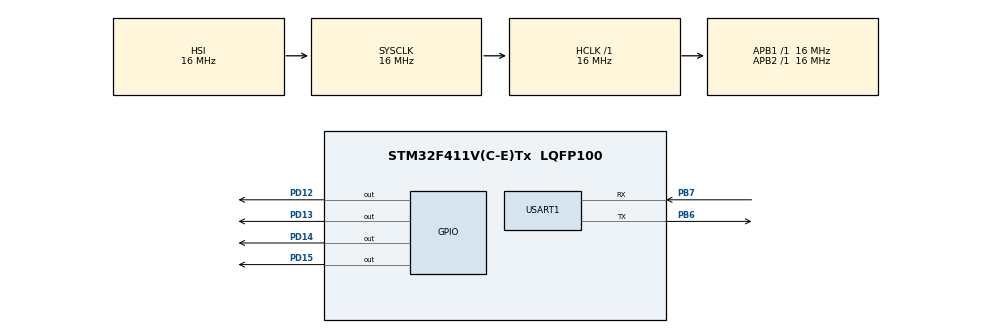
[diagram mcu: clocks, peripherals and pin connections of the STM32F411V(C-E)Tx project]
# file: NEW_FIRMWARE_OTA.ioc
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Dma.Request0=USART1_RX
Dma.Request1=USART1_TX
Dma.USART1_RX.0.Direction=DMA_PERIPH_TO_MEMORY
Dma.USART1_RX.0.FIFOMode=DMA_FIFOMODE_DISABLE
Dma.USART1_RX.0.Instance=DMA2_Stream2
Dma.USART1_RX.0.MemDataAlignment=DMA_MDATAALIGN_BYTE
Dma.USART1_RX.0.MemInc=DMA_MINC_ENABLE
Dma.USART1_RX.0.Mode=DMA_NORMAL
Dma.USART1_RX.0.PeriphDataAlignment=DMA_PDATAALIGN_BYTE
Dma.USART1_RX.0.PeriphInc=DMA_PINC_DISABLE
Dma.USART1_RX.0.Priority=DMA_PRIORITY_LOW
Dma.USART1_TX.1.Direction=DMA_MEMORY_TO_PERIPH
Dma.USART1_TX.1.FIFOMode=DMA_FIFOMODE_DISABLE
Dma.USART1_TX.1.Instance=DMA2_Stream7
Dma.USART1_TX.1.MemDataAlignment=DMA_MDATAALIGN_BYTE
Dma.USART1_TX.1.MemInc=DMA_MINC_ENABLE
Dma.USART1_TX.1.Mode=DMA_NORMAL
Dma.USART1_TX.1.PeriphDataAlignment=DMA_PDATAALIGN_BYTE
Dma.USART1_TX.1.PeriphInc=DMA_PINC_DISABLE
Dma.USART1_TX.1.Priority=DMA_PRIORITY_LOW
FREERTOS.Tasks01=task1,24,256,Function_1,Default,NULL,Dynamic,NULL,NULL;task2,8,256,Function_2,Default,NULL,Dynamic,NULL,NULL;task3,8,512,Function_3,Default,NULL,Dynamic,NULL,NULL
Mcu.Family=STM32F4
Mcu.Name=STM32F411V(C-E)Tx
Mcu.Package=LQFP100
NVIC.DMA2_Stream2_IRQn=true\:5\:0\:false\:false\:true\:true\:false\:true\:true
NVIC.DMA2_Stream7_IRQn=true\:5\:0\:false\:false\:true\:true\:false\:true\:true
NVIC.PriorityGroup=NVIC_PRIORITYGROUP_4
PB6.Mode=Asynchronous
PB6.Signal=USART1_TX
PB7.Mode=Asynchronous
PB7.Signal=USART1_RX
PD12.Signal=GPIO_Output
PD13.Signal=GPIO_Output
PD14.Signal=GPIO_Output
PD15.Signal=GPIO_Output
ProjectManager.HeapSize=0x200
ProjectManager.StackSize=0x400
ProjectManager.TargetToolchain=STM32CubeIDE
RCC.AHBFreq_Value=16000000
RCC.APB1Freq_Value=16000000
RCC.APB2Freq_Value=16000000
RCC.CortexFreq_Value=16000000
RCC.HSE_VALUE=25000000
RCC.HSI_VALUE=16000000
RCC.LSE_VALUE=32768
RCC.SYSCLKFreq_VALUE=16000000
RCC.VCOOutputFreq_Value=192000000
USART1.VirtualMode=VM_ASYNC
VP_FREERTOS_VS_CMSIS_V2.Mode=CMSIS_V2
board=custom

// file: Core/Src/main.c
/* USER CODE BEGIN Header */
/**
  ******************************************************************************
  * @file           : main.c
  * @brief          : Main program body
  ******************************************************************************
  * @attention
  *
  * Copyright (c) 2025 STMicroelectronics.
  * All rights reserved.
  *
  * This software is licensed under terms that can be found in the LICENSE file
  * in the root directory of this software component.
  * If no LICENSE file comes with this software, it is provided AS-IS.
  *
  ******************************************************************************
  */
/* USER CODE END Header */
#include "main.h"
#include "cmsis_os.h"

/* USER CODE BEGIN Includes */
#include<string.h>
#include<stdio.h>
#include<stdarg.h>
/* USER CODE END Includes */

UART_HandleTypeDef huart1;
DMA_HandleTypeDef hdma_usart1_rx;
DMA_HandleTypeDef hdma_usart1_tx;

/* Definitions for task1 */
osThreadId_t task1Handle;
const osThreadAttr_t task1_attributes = {
  .name = "task1",
  .stack_size = 256 * 4,
  .priority = (osPriority_t) osPriorityNormal,
};
/* Definitions for task2 */
osThreadId_t task2Handle;
const osThreadAttr_t task2_attributes = {
  .name = "task2",
  .stack_size = 256 * 4,
  .priority = (osPriority_t) osPriorityLow,
};
/* Definitions for task3 */
osThreadId_t task3Handle;
const osThreadAttr_t task3_attributes = {
  .name = "task3",
  .stack_size = 512 * 4,
  .priority = (osPriority_t) osPriorityLow,
};
/* USER CODE BEGIN PV */
uint8_t rx_buf[0xffff] ;
/* USER CODE END PV */

void SystemClock_Config(void);
static void MX_GPIO_Init(void);
static void MX_DMA_Init(void);
static void MX_USART1_UART_Init(void);
void Function_1(void *argument);
void Function_2(void *argument);
void Function_3(void *argument);

/* USER CODE BEGIN 0 */
char print_buf[128] = {0} ;
char recv_fw_done = 0 ;
char new_fw_msg[] = "have new firmware" ;
void pr_log(char* msg,...)
{
	  memset(print_buf, 0, sizeof(print_buf)) ;
		va_list args ;
		va_start(args, msg) ;
	    vsprintf(print_buf, msg, args) ;
	    va_end(args) ;
		HAL_UART_Transmit(&huart1, (uint8_t*)print_buf, strlen(print_buf), HAL_MAX_DELAY) ;

}
void HAL_UART_RxHalfCpltCallback(UART_HandleTypeDef *huart)
{
	recv_fw_done = 1 ;
}
/* USER CODE END 0 */

int main(void)
{

  /* MCU Configuration--------------------------------------------------------*/

  /* Reset of all peripherals, Initializes the Flash interface and the Systick. */
  HAL_Init();

  /* Configure the system clock */
  SystemClock_Config();

  /* Initialize all configured peripherals */
  MX_GPIO_Init();
  MX_DMA_Init();
  MX_USART1_UART_Init();

  /* Init scheduler */
  osKernelInitialize();

  /* Create the thread(s) */
  /* creation of task1 */
  task1Handle = osThreadNew(Function_1, NULL, &task1_attributes);

  /* creation of task2 */
  task2Handle = osThreadNew(Function_2, NULL, &task2_attributes);

  /* creation of task3 */
  task3Handle = osThreadNew(Function_3, NULL, &task3_attributes);

  /* Start scheduler */
  osKernelStart();

  /* We should never get here as control is now taken by the scheduler */

  /* Infinite loop */
  while (1)
  {

  }
}

void SystemClock_Config(void)
{
  RCC_OscInitTypeDef RCC_OscInitStruct = {0};
  RCC_ClkInitTypeDef RCC_ClkInitStruct = {0};

  /** Configure the main internal regulator output voltage
  */
  __HAL_RCC_PWR_CLK_ENABLE();
  __HAL_PWR_VOLTAGESCALING_CONFIG(PWR_REGULATOR_VOLTAGE_SCALE1);

  /** Initializes the RCC Oscillators according to the specified parameters
  * in the RCC_OscInitTypeDef structure.
  */
  RCC_OscInitStruct.OscillatorType = RCC_OSCILLATORTYPE_HSI;
  RCC_OscInitStruct.HSIState = RCC_HSI_ON;
  RCC_OscInitStruct.HSICalibrationValue = RCC_HSICALIBRATION_DEFAULT;
  RCC_OscInitStruct.PLL.PLLState = RCC_PLL_NONE;
  if (HAL_RCC_OscConfig(&RCC_OscInitStruct) != HAL_OK)
  {
    Error_Handler();
  }

  /** Initializes the CPU, AHB and APB buses clocks
  */
  RCC_ClkInitStruct.ClockType = RCC_CLOCKTYPE_HCLK|RCC_CLOCKTYPE_SYSCLK
                              |RCC_CLOCKTYPE_PCLK1|RCC_CLOCKTYPE_PCLK2;
  RCC_ClkInitStruct.SYSCLKSource = RCC_SYSCLKSOURCE_HSI;
  RCC_ClkInitStruct.AHBCLKDivider = RCC_SYSCLK_DIV1;
  RCC_ClkInitStruct.APB1CLKDivider = RCC_HCLK_DIV1;
  RCC_ClkInitStruct.APB2CLKDivider = RCC_HCLK_DIV1;

  if (HAL_RCC_ClockConfig(&RCC_ClkInitStruct, FLASH_LATENCY_0) != HAL_OK)
  {
    Error_Handler();
  }
}

static void MX_USART1_UART_Init(void)
{

  huart1.Instance = USART1;
  huart1.Init.BaudRate = 115200;
  huart1.Init.WordLength = UART_WORDLENGTH_8B;
  huart1.Init.StopBits = UART_STOPBITS_1;
  huart1.Init.Parity = UART_PARITY_NONE;
  huart1.Init.Mode = UART_MODE_TX_RX;
  huart1.Init.HwFlowCtl = UART_HWCONTROL_NONE;
  huart1.Init.OverSampling = UART_OVERSAMPLING_16;
  if (HAL_UART_Init(&huart1) != HAL_OK)
  {
    Error_Handler();
  }

}

static void MX_DMA_Init(void)
{

  /* DMA controller clock enable */
  __HAL_RCC_DMA2_CLK_ENABLE();

  /* DMA interrupt init */
  /* DMA2_Stream2_IRQn interrupt configuration */
  HAL_NVIC_SetPriority(DMA2_Stream2_IRQn, 5, 0);
  HAL_NVIC_EnableIRQ(DMA2_Stream2_IRQn);
  /* DMA2_Stream7_IRQn interrupt configuration */
  HAL_NVIC_SetPriority(DMA2_Stream7_IRQn, 5, 0);
  HAL_NVIC_EnableIRQ(DMA2_Stream7_IRQn);

}

static void MX_GPIO_Init(void)
{
  GPIO_InitTypeDef GPIO_InitStruct = {0};

  /* GPIO Ports Clock Enable */
  __HAL_RCC_GPIOD_CLK_ENABLE();
  __HAL_RCC_GPIOB_CLK_ENABLE();

  /*Configure GPIO pin Output Level */
  HAL_GPIO_WritePin(GPIOD, GPIO_PIN_12|GPIO_PIN_13|GPIO_PIN_14|GPIO_PIN_15, GPIO_PIN_RESET);

  /*Configure GPIO pins : PD12 PD13 PD14 PD15 */
  GPIO_InitStruct.Pin = GPIO_PIN_12|GPIO_PIN_13|GPIO_PIN_14|GPIO_PIN_15;
  GPIO_InitStruct.Mode = GPIO_MODE_OUTPUT_PP;
  GPIO_InitStruct.Pull = GPIO_NOPULL;
  GPIO_InitStruct.Speed = GPIO_SPEED_FREQ_LOW;
  HAL_GPIO_Init(GPIOD, &GPIO_InitStruct);

}

void Function_1(void *argument)
{
  /* USER CODE BEGIN 5 */
  /* Infinite loop */
  for(;;)
  {
	HAL_GPIO_WritePin(GPIOD, GPIO_PIN_12, GPIO_PIN_SET) ;
	osDelay(1000) ;
	HAL_GPIO_WritePin(GPIOD, GPIO_PIN_12, GPIO_PIN_RESET) ;
	osDelay(1000) ;
  }
  /* USER CODE END 5 */
}

void Function_2(void *argument)
{
  /* USER CODE BEGIN Function_2 */
  /* Infinite loop */
  for(;;)
  {
	 HAL_GPIO_WritePin(GPIOD, GPIO_PIN_13, GPIO_PIN_SET) ;
	 osDelay(500) ;
	 HAL_GPIO_WritePin(GPIOD, GPIO_PIN_13, GPIO_PIN_RESET) ;
	 osDelay(500) ;
  }
  /* USER CODE END Function_2 */
}

void Function_3(void *argument)
{
  /* USER CODE BEGIN Function_3 */
	pr_log("START FIRMWARE V2.0\n") ;
	HAL_UART_Receive_DMA(&huart1, rx_buf, sizeof(rx_buf)) ;
  /* Infinite loop */
  for(;;){
	  if (strstr((char*)rx_buf, "\n")){
	  		if (strstr((char*)rx_buf, "blue led on")){
	  			HAL_GPIO_WritePin(GPIOD, GPIO_PIN_15, GPIO_PIN_SET) ;
	  			pr_log("blue led on --> OK \n") ;
	  		}
	  		else if (strstr((char*)rx_buf, "blue led off")){
	  			HAL_GPIO_WritePin(GPIOD, GPIO_PIN_15, GPIO_PIN_RESET) ;
	  			pr_log("blue led off --> OK \n") ;
	  		}
	  		else if (strstr((char*)rx_buf, "update")){
				pr_log("FIRMWARE_SIZE? \n") ;
				HAL_UART_DMAStop(&huart1);
				HAL_UART_Receive_DMA(&huart1,rx_buf,sizeof(rx_buf));
				memset(rx_buf,0,sizeof(rx_buf));
				int fw_size = 0 ;
					while(!(strstr((char*)rx_buf, "firmware size:") && strstr((char*)rx_buf, "\n"))){
						osDelay(1);
					}
				sscanf((char*)rx_buf, "firmware size:%d", &fw_size) ;
				pr_log("please send %d bytes data of your Firmware\n", fw_size) ;

				while(recv_fw_done == 0 ){
					osDelay(1);
				}
				pr_log("--> receive new firmware data finish \n");
				HAL_FLASH_Unlock() ;
				FLASH_Erase_Sector(6, FLASH_VOLTAGE_RANGE_3);
				for (int i = 0 ; i < fw_size ; i++)
				{
					HAL_FLASH_Program(FLASH_TYPEPROGRAM_BYTE, 0x08040000 + i, rx_buf[i]) ;
				}
				pr_log("--> update new firmware to sector 6 done \n") ;

				FLASH_Erase_Sector(4, FLASH_VOLTAGE_RANGE_3);
				for (int i = 0 ; i < sizeof(new_fw_msg) ; i++)
				{
					HAL_FLASH_Program(FLASH_TYPEPROGRAM_BYTE, 0x08010000 + i, new_fw_msg[i]) ;
				}
				pr_log("--> update information area done \n") ;
				HAL_FLASH_Lock() ;
				HAL_NVIC_SystemReset() ;
			}
	  		HAL_UART_DMAStop(&huart1);
			HAL_UART_Receive_DMA(&huart1,rx_buf,sizeof(rx_buf));
			memset(rx_buf,0,sizeof(rx_buf));
	}
	  osDelay(1);
  }
  /* USER CODE END Function_3 */
}

void Error_Handler(void)
{
  __disable_irq();
  while (1)
  {
  }
}
